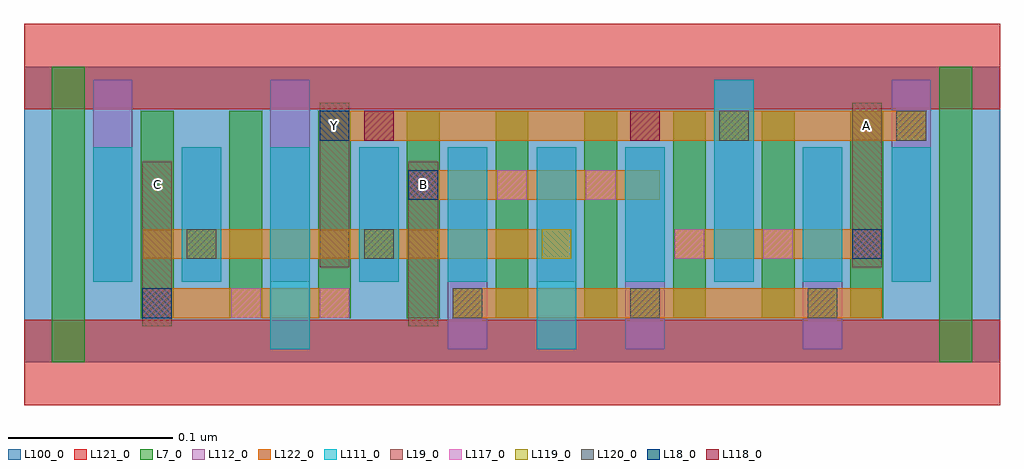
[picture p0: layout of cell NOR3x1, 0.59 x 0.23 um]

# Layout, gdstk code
import gdstk
lib = gdstk.Library(unit=1e-6, precision=2.5e-10)
def R(c, l, rs):  # rectangles x0, y0, x1, y1
    for r in rs: c.add(gdstk.rectangle(r[:2], r[2:], *l))
def A(c, l, x, y, w, h, nx, ny, dx, dy):  # array of equal rectangles
    R(c, l, [(x+i*dx, y+j*dy, x+i*dx+w, y+j*dy+h) for i in range(nx) for j in range(ny)])
L7_0 = (7, 0)
L18_0 = (18, 0)
L19_0 = (19, 0)
L100_0 = (100, 0)
L111_0 = (111, 0)
L112_0 = (112, 0)
L117_0 = (117, 0)
L118_0 = (118, 0)
L119_0 = (119, 0)
L120_0 = (120, 0)
L121_0 = (121, 0)
L122_0 = (122, 0)

nor3x1 = lib.new_cell('NOR3x1')
A(nor3x1, L7_0, 0.071, 0.027, 0.02, 0.126, 9, 1, 0.054, 0)
R(nor3x1, L7_0, [(0.017,0,0.037,0.18), (0.557,0,0.577,0.18)])
R(nor3x1, L18_0, [(0.072,0.027,0.09,0.045), (0.504,0.063,0.522,0.081), (0.234,0.099,0.252,0.117), (0.18,0.135,0.198,0.153)])
R(nor3x1, L19_0, [(0.072,0.022,0.09,0.122), (0.234,0.022,0.252,0.122), (0.18,0.058,0.198,0.158), (0.504,0.058,0.522,0.158)])
R(nor3x1, L100_0, [(0,0,0.594,0.18)])
A(nor3x1, L111_0, 0.258, 0.049, 0.024, 0.082, 3, 1, 0.108, 0)
R(nor3x1, L111_0, [(0.15,0.008,0.174,0.131), (0.312,0.008,0.336,0.131), (0.042,0.049,0.066,0.131), (0.096,0.049,0.12,0.131), (0.204,0.049,0.228,0.131), (0.42,0.049,0.444,0.172), (0.528,0.049,0.552,0.131)])
A(nor3x1, L112_0, 0.258, 0.008, 0.024, 0.123, 3, 1, 0.108, 0)
A(nor3x1, L112_0, 0.096, 0.049, 0.024, 0.082, 3, 1, 0.108, 0)
R(nor3x1, L112_0, [(0.042,0.049,0.066,0.172), (0.15,0.049,0.174,0.172), (0.42,0.049,0.444,0.172), (0.528,0.049,0.552,0.172)])
A(nor3x1, L117_0, 0.072, 0.027, 0.018, 0.018, 3, 1, 0.054, 0)
A(nor3x1, L117_0, 0.396, 0.063, 0.018, 0.018, 3, 1, 0.054, 0)
A(nor3x1, L117_0, 0.234, 0.099, 0.018, 0.018, 3, 1, 0.054, 0)
R(nor3x1, L118_0, [(0.207,0.135,0.225,0.153), (0.369,0.135,0.387,0.153)])
A(nor3x1, L119_0, 0.261, 0.027, 0.018, 0.018, 3, 1, 0.108, 0)
A(nor3x1, L119_0, 0.099, 0.063, 0.018, 0.018, 3, 1, 0.108, 0)
R(nor3x1, L119_0, [(0.423,0.135,0.441,0.153), (0.531,0.135,0.549,0.153)])
A(nor3x1, L120_0, 0.261, 0.027, 0.018, 0.018, 3, 1, 0.108, 0)
R(nor3x1, L120_0, [(0.099,0.063,0.117,0.081), (0.207,0.063,0.225,0.081), (0.423,0.135,0.441,0.153), (0.531,0.135,0.549,0.153)])
R(nor3x1, L121_0, [(0,-0.026,0.594,0.026), (0,0.154,0.594,0.206)])
R(nor3x1, L122_0, [(0.072,0.027,0.198,0.045), (0.261,0.027,0.522,0.045), (0.072,0.063,0.333,0.081), (0.396,0.063,0.522,0.081), (0.234,0.099,0.387,0.117), (0.18,0.135,0.549,0.153)])
nor3x1.add(gdstk.Label('Y', (0.189,0.144), layer=19, texttype=251))
nor3x1.add(gdstk.Label('C', (0.081,0.108), layer=19, texttype=251))
nor3x1.add(gdstk.Label('B', (0.243,0.108), layer=19, texttype=251))
nor3x1.add(gdstk.Label('A', (0.513,0.144), layer=19, texttype=251))

lib.write_gds('NOR3x1.gds')
